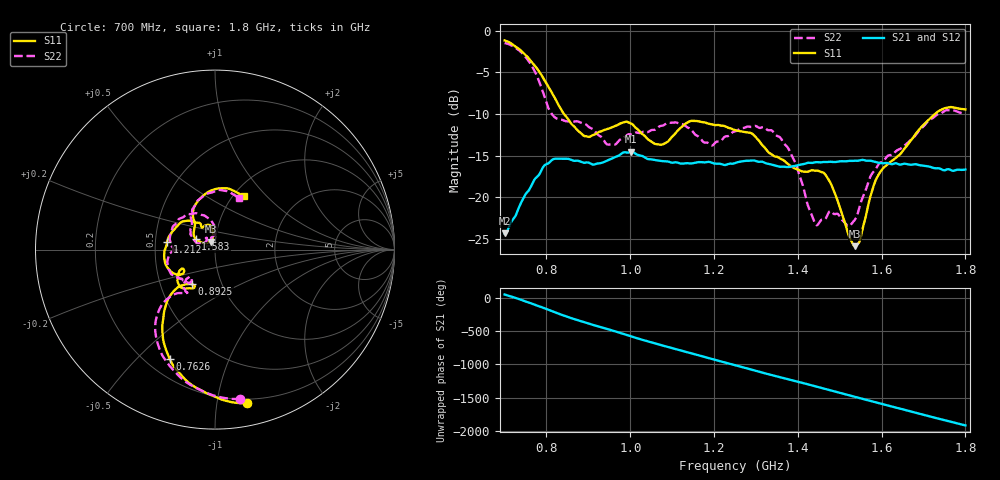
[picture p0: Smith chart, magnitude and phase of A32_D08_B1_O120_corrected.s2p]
! Created with skrf 1.9.0 (http://scikit-rf.org).
# Hz S RI R 50.0
!freq ReS11 ImS11 ReS21 ImS21 ReS12 ImS12 ReS22 ImS22
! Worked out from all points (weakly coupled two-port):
!   1601 points, 700 MHz to 1.8 GHz, reference 50 ohm
!   highest |S21| = -14.56 dB at 1.002 GHz (marker M1); lowest = -24.4 dB at 700 MHz (marker M2)
!   lowest |S11| = -25.9 dB at 1.536 GHz (marker M3), VSWR 1.11, Z = 47.5 + j4.24 ohm
!   |S11| at or under -10 dB: 841.7 MHz to 1.727 GHz (885.5 MHz wide, 68.9 % of centre)
!   |S22| runs from -23.5 to -1.5 dB; largest |S21 - S12| = 0.0035
!   S11 on the Smith chart (normalised r, x): 700 MHz: 0.17, -1.21; 762.6 MHz: 0.29, -0.63; 892.5 MHz: 0.72, -0.30; 1.212 GHz: 0.58, +0.05; 1.583 GHz: 0.80, +0.10; 1.8 GHz: 1.12, +0.75
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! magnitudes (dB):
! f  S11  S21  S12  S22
! 700 MHz  -1.2  -24.4  -24.2  -1.5
! 762.6 MHz  -3.6  -18.8  -18.7  -4.0
! 815.5 MHz  -7.7  -15.5  -15.5  -10.2
! 883.6 MHz  -12.4  -15.8  -15.7  -11.1
! 892.5 MHz  -12.7  -15.9  -15.9  -11.2
! 947.5 MHz  -11.8  -15.5  -15.6  -13.7
! 1.002 GHz  -11.2  -14.6  -14.7  -12.5
! 1.067 GHz  -13.7  -15.6  -15.6  -11.6
! 1.143 GHz  -10.9  -16.0  -15.9  -11.8
! 1.212 GHz  -11.3  -16.0  -16.0  -13.3
! 1.25 GHz  -11.9  -15.9  -15.8  -12.1
! 1.358 GHz  -15.4  -16.4  -16.3  -12.8
! 1.394 GHz  -16.6  -16.2  -16.2  -15.9
! 1.434 GHz  -16.8  -15.9  -15.9  -22.2
! 1.446 GHz  -16.8  -15.8  -15.8  -23.4
! 1.474 GHz  -18.0  -15.8  -15.8  -21.8
! 1.536 GHz  -25.9  -15.6  -15.6  -22.7
! 1.549 GHz  -25.1  -15.6  -15.6  -20.9
! 1.583 GHz  -18.3  -15.8  -15.8  -16.8
! 1.617 GHz  -15.9  -16.0  -15.9  -15.0
! 1.733 GHz  -9.7  -16.5  -16.6  -10.1
! 1.8 GHz  -9.5  -16.7  -16.7  -10.0
